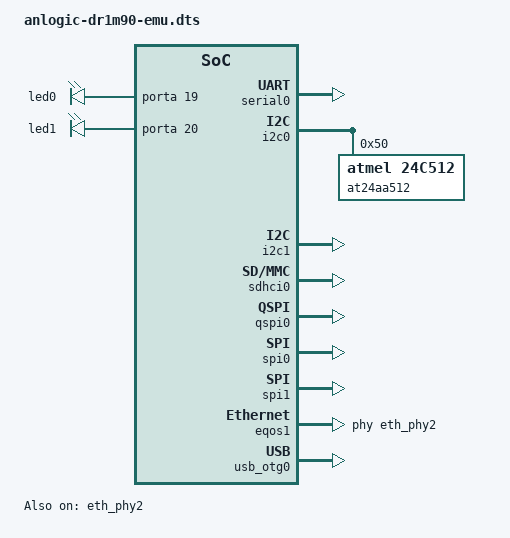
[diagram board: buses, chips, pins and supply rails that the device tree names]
// SPDX-License-Identifier: (GPL-2.0+ OR MIT)

/dts-v1/;
#include "anlogic-dr1m90.dts"

&cma {
	alloc-ranges = <0x0 0x00000000 0x0 0xffffffff>;
	size = <0x0 0x10000000>;
};

&memory {
	reg = <0 0x00000000 0 0x50000000>;
};

&soc {
	leds {
		compatible = "gpio-leds";
		led0 {
			gpios = <&porta 19 GPIO_ACTIVE_HIGH>;
			linux,default-trigger = "timer";
			status = "okay";
		};

		led1 {
			gpios = <&porta 20 GPIO_ACTIVE_HIGH>;
			linux,default-trigger = "heartbeat";
			status = "okay";
		};
	};
};

&serial0 {
	status = "okay";
};

&serial1 {
	status = "disabled";
};

&i2c0 {
	status = "okay";

	at24aa512: eeprom@50 {
		compatible = "atmel,24c512"; /* 64K Bytes, at24AA512 */
		reg = <0x50>;
		pagesize = <8>;
		address-width = <16>;
		status = "okay";
	};
};

&i2c1 {
	status = "okay";
};

&gpio0 {
	status = "okay";
};

&gpio1 {
	status = "okay";
};

&gpio2 {
	status = "okay";
};

&gpio3 {
	status = "okay";
};

&axidmac {
	status = "okay";
};

&watchdog0 {
	status = "disabled";
};

&ipmscan0 {
	status = "disabled";
};

&ipmscan1 {
	status = "disabled";
};

&sdhci0 {
	status = "okay";
};

&ahb_dma {
	status = "okay";
};

&qspi0 {
	status = "okay";
};

&spi0 {
	status = "okay";
};

&spi1 {
	status = "okay";
};

&eqos0 {
	phy-handle = <&eth_phy0>;
	status = "disabled";
};

&eth_phy0 {
	/* Realtek RTL8211F (0x001cc916) */
	status = "disabled";
};

&eth_phy1 {
	/* Motorcomm YT8531 (0x4f51e91b) */
	status = "disabled";
};

&eqos1 {
	phy-handle = <&eth_phy2>;
	status = "okay";
};

&eth_phy2 {
	/* Realtek RTL8211F (0x001cc916) */
	status = "okay";
};

&eth_phy3 {
	/* Motorcomm YT8531 (0x4f51e91b) */
	status = "disabled";
};

&usb_otg0 {
	status = "okay";
};

&qspi0 {
	rx-sample-delay-ns = <1>;
	status = "okay";
};

